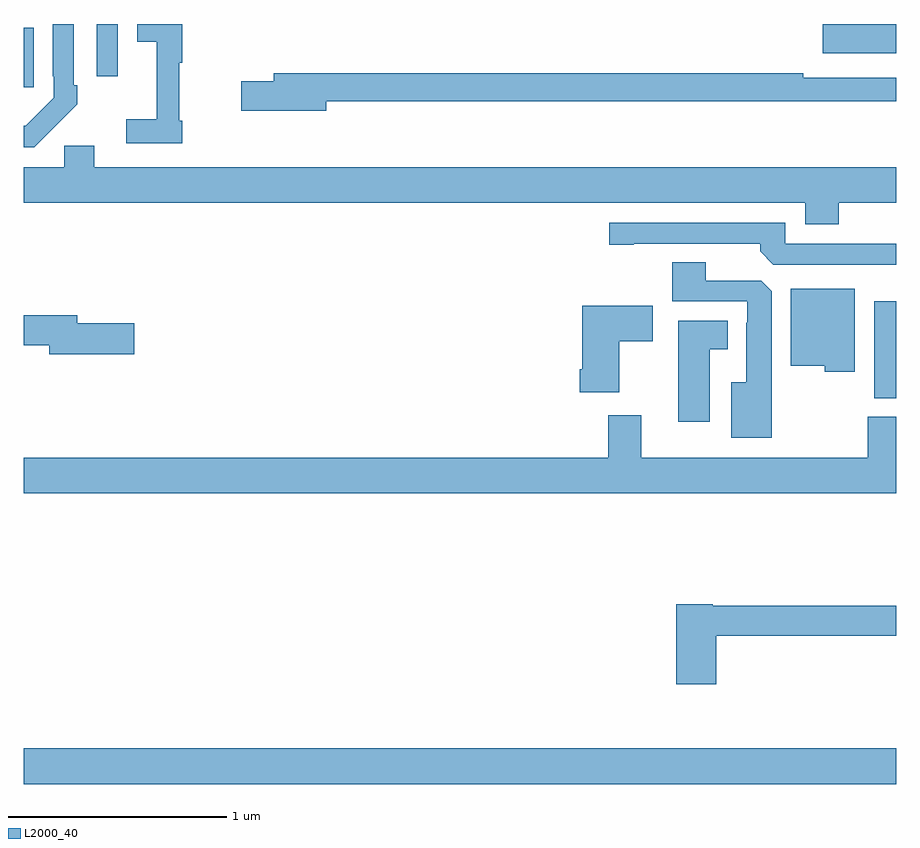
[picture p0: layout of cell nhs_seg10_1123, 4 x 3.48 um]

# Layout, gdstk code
import gdstk
lib = gdstk.Library(unit=1e-6, precision=1e-09)
def R(c, l, rs):  # rectangles x0, y0, x1, y1
    for r in rs: c.add(gdstk.rectangle(r[:2], r[2:], *l))
def P(c, l, *ps):  # polygons
    for p in ps: c.add(gdstk.Polygon(p, *l))
L2000_40 = (2000, 40)

nhs_seg10_1123 = lib.new_cell('nhs_seg10_1123')
R(nhs_seg10_1123, L2000_40, [(169,1267.016,173,1267.18), (172.898,1268.785,173,1269.229), (169,1270.209,169.045,1270.483), (169.335,1270.26,169.431,1270.5), (172.662,1270.367,173,1270.5)])
P(nhs_seg10_1123, L2000_40, [(169.139,1270.027),(169.14,1270.026),(169.245,1270.131),(169.245,1270.219),(169.23,1270.219),(169.23,1270.5),(169.134,1270.5),(169.134,1270.261),(169.137,1270.261),(169.137,1270.161),(169.009,1270.033),(169,1270.033),(169,1269.936),(169.048,1269.936)],
  [(169.727,1270.057),(169.712,1270.057),(169.712,1270.322),(169.727,1270.322),(169.727,1270.5),(169.52,1270.5),(169.52,1270.418),(169.61,1270.418),(169.61,1270.063),(169.47,1270.063),(169.47,1269.954),(169.727,1269.954)],
  [(170.386,1270.146),(173,1270.146),(173,1270.254),(172.574,1270.254),(172.574,1270.274),(170.147,1270.274),(170.147,1270.238),(169.998,1270.238),(169.998,1270.103),(170.386,1270.103)],
  [(172.736,1269.68),(173,1269.68),(173,1269.844),(169.324,1269.844),(169.324,1269.942),(169.185,1269.942),(169.185,1269.844),(169,1269.844),(169,1269.68),(172.583,1269.68),(172.583,1269.581),(172.736,1269.581)],
  [(173,1269.492),(172.491,1269.492),(172.491,1269.588),(171.684,1269.588),(171.684,1269.487),(171.796,1269.487),(171.796,1269.492),(172.376,1269.492),(172.376,1269.458),(172.437,1269.396),(173,1269.396)],
  [(172.429,1269.275),(172.38,1269.324),(172.126,1269.324),(172.126,1269.407),(171.974,1269.407),(171.974,1269.228),(172.317,1269.228),(172.317,1269.131),(172.313,1269.131),(172.313,1268.857),(172.244,1268.857),(172.244,1268.603),(172.429,1268.603)],
  [(172.81,1269.286),(172.517,1269.286),(172.517,1268.933),(172.671,1268.933),(172.671,1268.906),(172.81,1268.906)],
  [(171.73,1269.046),(171.883,1269.046),(171.883,1269.208),(171.56,1269.208),(171.56,1268.917),(171.548,1268.917),(171.548,1268.813),(171.73,1268.813)],
  [(169.507,1269.128),(169.246,1269.128),(169.246,1269.164),(169,1269.164),(169,1269.028),(169.118,1269.028),(169.118,1268.986),(169.507,1268.986)],
  [(172.144,1269.008),(172.228,1269.008),(172.228,1269.139),(172.001,1269.139),(172.001,1268.676),(172.144,1268.676)],
  [(173,1268.7),(172.87,1268.7),(172.87,1268.512),(171.832,1268.512),(171.832,1268.707),(171.68,1268.707),(171.68,1268.512),(169,1268.512),(169,1268.348),(173,1268.348)],
  [(172.175,1267.696),(173,1267.696),(173,1267.832),(172.158,1267.832),(172.158,1267.84),(171.992,1267.84),(171.992,1267.473),(172.175,1267.473)])

lib.write_gds('nhs_seg10_1123.gds')
